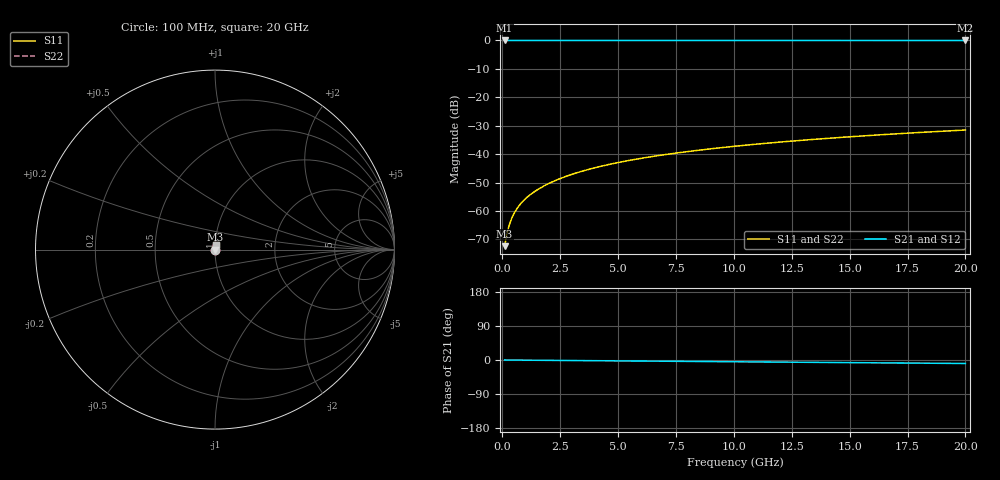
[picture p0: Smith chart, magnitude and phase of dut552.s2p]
! Touchstone file exported from HFSS 2026.1.0
!  File:  C:/ffzhzh/LocalFiles/Ansys_Project_Files/temp_train_TSV_552_1783024316_55676.aedt
!  Generated:  04:33:31 AM Jul  3, 2026
!  Design:  TSV
!  Project:  temp_train_TSV_552_1783024316_55676
! Variables:
!  h_bsmrdl = 2um
!  h_ox = 20um
!  h_rdl = 5um
!  h_sub = 91.42um
!  h_tmrdl = 5um
!  h_tsv = 91.42um
!  h_via = 3um
!  l_bsmrdl = 300um
!  l_sub = 418.5um
!  l_tmrdl = 200um
!  m_sub = 200um
!  pitch = 45.82um
!  r_tsv = 9.25um
!  s_tmrdl = 10um
!  w_bsmrdl = 18um
!  w_sub = 500um
!  w_tmrdl = 12um
!  x_tsv_center1 = 206um
!  x_tsv_center2 = 524um
!  x_tsv_center3 = 736um
!  x_tsv_center4 = 1054um
!  x_tsv_center5 = 1266um
!  x_tsv_center6 = 1584um
# GHz S MA R 50.000000
! Terminal data exported
! Port[1] = TSV1_1_T1
! Port[2] = TSV1_1_T2
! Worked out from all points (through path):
!   200 points, 100 MHz to 20 GHz, reference 50 ohm
!   highest |S21| = 0.00 dB at 100 MHz (marker M1); lowest = 0.0 dB at 20 GHz (marker M2)
!   group delay of S21, straight-line fit = 1.28 ps
!   lowest |S11| = -72.4 dB at 100 MHz (marker M3), VSWR 1.00, Z = 50 + j0.018 ohm
!   |S11| at or under -10 dB: start of sweep to end of sweep
!   |S22| runs from -72.4 to -31.5 dB; largest |S21 - S12| = 3.2e-15
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0.1  0.0002396 48.7  0.9998 -0.0  0.9998 -0.0  0.0002396 48.7
! Gamma 0 0 0 0
! Port Impedance 50 0 50 0
0.2  0.0003962 64.5  0.9998 -0.1  0.9998 -0.1  0.0003962 64.5
0.3  0.0005633 70.3  0.9998 -0.1  0.9998 -0.1  0.0005633 70.3
0.4  0.0007293 73.0  0.9998 -0.2  0.9998 -0.2  0.0007293 73.0
0.5  0.0008913 74.4  0.9998 -0.2  0.9998 -0.2  0.0008913 74.4
0.6  0.001048 75.3  0.9997 -0.3  0.9997 -0.3  0.001048 75.3
0.7  0.001201 75.9  0.9997 -0.3  0.9997 -0.3  0.001201 75.9
0.8  0.00135 76.3  0.9997 -0.4  0.9997 -0.4  0.00135 76.3
1  0.001639 77.1  0.9996 -0.5  0.9996 -0.5  0.001639 77.1
1.4  0.002199 78.4  0.9996 -0.7  0.9996 -0.7  0.002199 78.4
1.7  0.002612 79.1  0.9995 -0.8  0.9995 -0.8  0.002612 79.1
2  0.003024 79.8  0.9995 -0.9  0.9995 -0.9  0.003024 79.8
2.7  0.003983 80.7  0.9994 -1.3  0.9994 -1.3  0.003983 80.7
3.5  0.005074 81.3  0.9994 -1.6  0.9994 -1.6  0.005074 81.3
4.2  0.006023 81.5  0.9993 -2.0  0.9993 -2.0  0.006023 81.5
5  0.007099 81.6  0.9992 -2.3  0.9992 -2.3  0.007099 81.6
6.8  0.009493 81.5  0.9991 -3.2  0.9991 -3.2  0.009493 81.5
8.3  0.01147 81.3  0.999 -3.8  0.999 -3.8  0.01147 81.3
10.1  0.01382 80.9  0.9988 -4.7  0.9988 -4.7  0.01382 80.9
13.4  0.0181 79.9  0.9986 -6.2  0.9986 -6.2  0.0181 79.9
16.7  0.02234 78.8  0.9984 -7.7  0.9984 -7.7  0.02234 78.8
20  0.02653 77.5  0.9981 -9.2  0.9981 -9.2  0.02653 77.5
